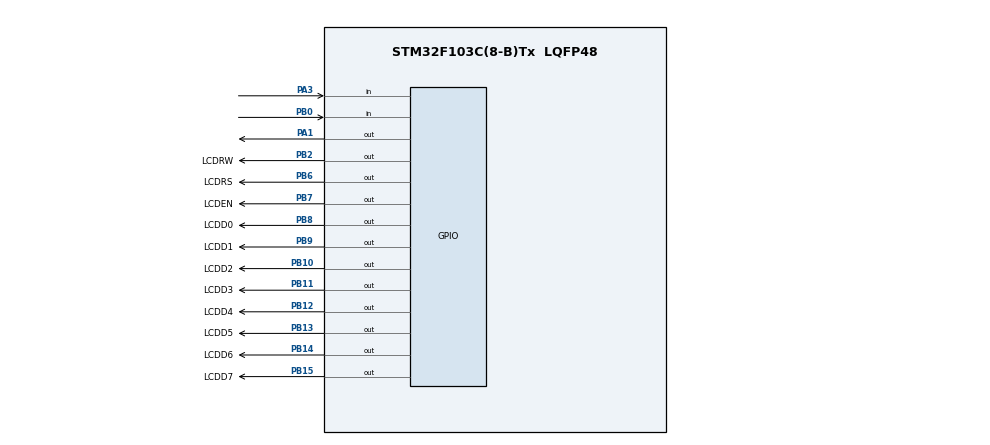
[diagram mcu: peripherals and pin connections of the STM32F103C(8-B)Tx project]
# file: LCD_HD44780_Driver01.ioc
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Mcu.Family=STM32F1
Mcu.Name=STM32F103C(8-B)Tx
Mcu.Package=LQFP48
NVIC.PriorityGroup=NVIC_PRIORITYGROUP_4
PA1.Signal=GPIO_Output
PA13.Mode=Serial_Wire
PA13.Signal=SYS_JTMS-SWDIO
PA14.Mode=Serial_Wire
PA14.Signal=SYS_JTCK-SWCLK
PA3.GPIO_PuPd=GPIO_PULLUP
PA3.Signal=GPIO_Input
PB0.Signal=GPIO_Input
PB10.GPIO_Label=LCDD2
PB10.Signal=GPIO_Output
PB11.GPIO_Label=LCDD3
PB11.Signal=GPIO_Output
PB12.GPIO_Label=LCDD4
PB12.Signal=GPIO_Output
PB13.GPIO_Label=LCDD5
PB13.Signal=GPIO_Output
PB14.GPIO_Label=LCDD6
PB14.Signal=GPIO_Output
PB15.GPIO_Label=LCDD7
PB15.Signal=GPIO_Output
PB2.GPIO_Label=LCDRW
PB2.Signal=GPIO_Output
PB6.GPIO_Label=LCDRS
PB6.Signal=GPIO_Output
PB7.GPIO_Label=LCDEN
PB7.Signal=GPIO_Output
PB8.GPIO_Label=LCDD0
PB8.Signal=GPIO_Output
PB9.GPIO_Label=LCDD1
PB9.Signal=GPIO_Output
ProjectManager.HeapSize=0x200
ProjectManager.StackSize=0x400
ProjectManager.TargetToolchain=MDK-ARM V5.32
RCC.APB1Freq_Value=8000000
RCC.APB2Freq_Value=8000000
board=custom

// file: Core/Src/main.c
/* USER CODE BEGIN Header */
/**
  ******************************************************************************
  * @file           : main.c
  * @brief          : Main program body
  ******************************************************************************
  * @attention
  *
  * Copyright (c) 2023 STMicroelectronics.
  * All rights reserved.
  *
  * This software is licensed under terms that can be found in the LICENSE file
  * in the root directory of this software component.
  * If no LICENSE file comes with this software, it is provided AS-IS.
  *
  ******************************************************************************
  */
/* USER CODE END Header */
#include "main.h"

/* USER CODE BEGIN Includes */
#include <stdio.h>
struct __FILE
{
  int handle;
};
FILE __stdout;
//void LCD_putchar(uint8_t ch);
int fputc(int ch, FILE *f)
{
//  LCD_putchar((uint8_t)ch);
  return ch;
}

/* USER CODE END Includes */

void SystemClock_Config(void);
static void MX_GPIO_Init(void);

/* USER CODE BEGIN 0 */

/* LCD initilize sequence ------------------ */
#define LCD_4bit 				 // Select LCD_8bit or LCD_4bit
#define LCD_useBF				 //
// ============================================
#define CMD					0  		 // PutType
#define CMD4bit			0xFF	 // Put only nible
#define DAT					1  		 // PutType
#define BF_TIMEOUT 	100000uL    // Maximum busy flag waiting time loop count
/* ----------- End of LCD initilize sequence */

/* LCD constants define begin -------------- */
#define 	LCD_CLEARDISPLAY						0x01
#define 	LCD_RETURNHOME							0x02
#define 	LCD_ENTRY_INCREASE					0x06
#define 	LCD_ENTRY_DECREASE					0x04
#define 	LCD_ENTRY_SHIFTRIGHT				0x05
#define 	LCD_ENTRY_SHIFTLEFT				0x07
#define 	LCD_DISPLAY_ALL						0x0F
#define 	LCD_DISPLAY_OFF						0x08
#define 	LCD_CURSOR_OFF							0x0C
#define 	LCD_BLINK_OFF							0x0E
#define 	LCD_SHIFT_CURSOR_LEFT			0x10
#define 	LCD_SHIFT_CURSOR_RIGHT			0x14
#define 	LCD_SHIFT_DISP_LEFT				0x18
#define 	LCD_SHIFT_DISP_RIGHT				0x1C
#define 	LCD_SETCGRAM_ADDR					0x40
//        (LCD_SETCGRAM_ADDR | addr_value)
#define 	LCD_SETDDRAM_ADDR					0x80
//        (LCD_SETDDRAM_ADDR | addr_value)
/* --------------End of LCD constants define */

// Wait for LCD ready using Busy Flag check
// Return Wait until BF=0 or reach BF_TimeoutCnt == BF_TIMEOUT

uint8_t LCD_BF_Wait() {
#if defined(LCD_useBF)
		uint32_t BF_TimeoutCnt = 0;
	  uint8_t BF=0;
		GPIO_InitTypeDef GPIO_InitStruct = {0};
		GPIO_InitStruct.Pin =  LCDD4_Pin|LCDD5_Pin|LCDD6_Pin|LCDD7_Pin|
												   LCDD0_Pin|LCDD1_Pin|LCDD2_Pin|LCDD3_Pin;
		GPIO_InitStruct.Mode = GPIO_MODE_INPUT;
		GPIO_InitStruct.Pull = GPIO_NOPULL;
		HAL_GPIO_Init(LCDD7_GPIO_Port, &GPIO_InitStruct);

		HAL_GPIO_WritePin(LCDRW_GPIO_Port,LCDRW_Pin,1);
		HAL_GPIO_WritePin(LCDRS_GPIO_Port,LCDRS_Pin,0);

		while((0!=BF)&&(BF_TimeoutCnt<BF_TIMEOUT)) { //&&(BF_TimeoutCnt<BF_TIMEOUT)
			BF_TimeoutCnt = BF_TimeoutCnt + 1;
			BF = HAL_GPIO_ReadPin(LCDD7_GPIO_Port,LCDD7_Pin);
		}
		// Change back BF into Digital OUTPUT PUSH PULL
		GPIO_InitStruct.Pin =  LCDD4_Pin|LCDD5_Pin|LCDD6_Pin|LCDD7_Pin|
												   LCDD0_Pin|LCDD1_Pin|LCDD2_Pin|LCDD3_Pin;		GPIO_InitStruct.Mode = GPIO_MODE_OUTPUT_PP;
		GPIO_InitStruct.Mode = GPIO_MODE_OUTPUT_PP;
		GPIO_InitStruct.Pull = GPIO_NOPULL;
		GPIO_InitStruct.Speed = GPIO_SPEED_FREQ_LOW;
		HAL_GPIO_Init(LCDD7_GPIO_Port, &GPIO_InitStruct);

		HAL_GPIO_WritePin(LCDRW_GPIO_Port,LCDRW_Pin,0);    // Change back to Write mode
		return BF;
#else
	HAL_Delay(1);
	return 0;
#endif
}

// LCD put
void LCD_put(uint8_t PutType, uint8_t	ch) {
#if defined(LCD_8bit)
	LCD_BF_Wait();
	HAL_GPIO_WritePin(LCDRS_GPIO_Port,LCDRS_Pin,PutType); // IR
	HAL_GPIO_WritePin(LCDEN_GPIO_Port,LCDEN_Pin,0); // EN=0
	HAL_GPIO_WritePin(LCDD7_GPIO_Port,LCDD7_Pin,(ch>>7)&1u);
	HAL_GPIO_WritePin(LCDD6_GPIO_Port,LCDD6_Pin,(ch>>6)&1u);
	HAL_GPIO_WritePin(LCDD5_GPIO_Port,LCDD5_Pin,(ch>>5)&1u);
	HAL_GPIO_WritePin(LCDD4_GPIO_Port,LCDD4_Pin,(ch>>4)&1u);
	HAL_GPIO_WritePin(LCDD3_GPIO_Port,LCDD3_Pin,(ch>>3)&1u);
	HAL_GPIO_WritePin(LCDD2_GPIO_Port,LCDD2_Pin,(ch>>2)&1u);
	HAL_GPIO_WritePin(LCDD1_GPIO_Port,LCDD1_Pin,(ch>>1)&1u);
	HAL_GPIO_WritePin(LCDD0_GPIO_Port,LCDD0_Pin,(ch>>0)&1u);
	HAL_GPIO_WritePin(LCDEN_GPIO_Port,LCDEN_Pin,1); // EN=1
//	LCD_BF_Wait();
	HAL_GPIO_WritePin(LCDRS_GPIO_Port,LCDRS_Pin,PutType); // IR
	HAL_GPIO_WritePin(LCDEN_GPIO_Port,LCDEN_Pin,0); // EN=0
}

#elif defined(LCD_4bit)
	LCD_BF_Wait();
	HAL_GPIO_WritePin(LCDRS_GPIO_Port,LCDRS_Pin,((PutType==CMD4bit)?CMD:PutType)); // IR
	HAL_GPIO_WritePin(LCDEN_GPIO_Port,LCDEN_Pin,0); // EN=0
	HAL_GPIO_WritePin(LCDD7_GPIO_Port,LCDD7_Pin,(ch>>7)&1u);
	HAL_GPIO_WritePin(LCDD6_GPIO_Port,LCDD6_Pin,(ch>>6)&1u);
	HAL_GPIO_WritePin(LCDD5_GPIO_Port,LCDD5_Pin,(ch>>5)&1u);
	HAL_GPIO_WritePin(LCDD4_GPIO_Port,LCDD4_Pin,(ch>>4)&1u);
	HAL_GPIO_WritePin(LCDEN_GPIO_Port,LCDEN_Pin,1); // EN=1
	HAL_GPIO_WritePin(LCDEN_GPIO_Port,LCDEN_Pin,0); // EN=0

	if (PutType != CMD4bit) {
		LCD_BF_Wait();
		HAL_GPIO_WritePin(LCDRS_GPIO_Port,LCDRS_Pin,((PutType==CMD4bit)?CMD:PutType)); // IR
		HAL_GPIO_WritePin(LCDD3_GPIO_Port,LCDD7_Pin,(ch>>3)&1u);
		HAL_GPIO_WritePin(LCDD2_GPIO_Port,LCDD6_Pin,(ch>>2)&1u);
		HAL_GPIO_WritePin(LCDD1_GPIO_Port,LCDD5_Pin,(ch>>1)&1u);
		HAL_GPIO_WritePin(LCDD0_GPIO_Port,LCDD4_Pin,(ch>>0)&1u);
		HAL_GPIO_WritePin(LCDEN_GPIO_Port,LCDEN_Pin,1); // EN=1
		HAL_GPIO_WritePin(LCDEN_GPIO_Port,LCDEN_Pin,0); // EN=0
	}
}

#endif
const uint8_t char2[]={0,14,17,31,16,14,0,4};   // e.
const uint8_t char1[]={0,2,7,2,14,18,18,15};   // dd
const uint8_t char0[]={2,4,10,14,17,31,16,14};  // e^'

void LCD_SetCustomChar(uint8_t pos,uint8_t *pTable) {
	pos = pos<<3;
	uint8_t i=0;
	for (i=0;i<8;i++) {
			LCD_put(CMD,LCD_SETCGRAM_ADDR|(pos|i));      			// set CRRAM address
			LCD_put(DAT,*(pTable+i));      		// set CRRAM data
	}
}

// LCD init
void LCD_Init() {
	HAL_Delay(15);
	#if defined(LCD_4bit)
		LCD_put(CMD4bit, 0x30);
		HAL_Delay(5);
		LCD_put(CMD4bit, 0x30);
		HAL_Delay(1);
		LCD_put(CMD4bit, 0x30);
		LCD_put(CMD4bit, 0x20); // 4bit
		LCD_put(CMD, 0x2C);     // 4bit N=1 (2 lines); F=1 (5x10)
		LCD_put(CMD, 0x0F);     // 0B00001111 Display ON, cursor ON, Blink ON
		LCD_put(CMD, 0x06);     // 0B00000110 Increase ID=1; S/C=0 Cursor move
		LCD_put(CMD, 0x01);     // Clear LCD
	#elif defined(LCD_8bit)
		LCD_put(CMD, 0x30);
		HAL_Delay(5);
		LCD_put(CMD, 0x30);
		HAL_Delay(1);
		LCD_put(CMD, 0x30);
		LCD_put(CMD, 0x3C);  // 0B00111100 8bit, N=1 (2 lines); F=1 (5x10)
		LCD_put(CMD, 0x0F);  // 0B00001111 Display ON, cursor ON, Blink ON
		LCD_put(CMD, 0x06);  // 0B00000110 Increase ID=1; S/C=0 Cursor move
		LCD_put(CMD, 0x01);  // Clear LCD
	#endif
		HAL_Delay(2);
}

/* USER CODE END 0 */

int main(void)
{

  /* MCU Configuration--------------------------------------------------------*/

  /* Reset of all peripherals, Initializes the Flash interface and the Systick. */
  HAL_Init();

  /* Configure the system clock */
  SystemClock_Config();

  /* Initialize all configured peripherals */
  MX_GPIO_Init();
  /* USER CODE BEGIN 2 */
				HAL_GPIO_WritePin(GPIOA,GPIO_PIN_1,GPIO_PIN_RESET);
				HAL_Delay(10);
				HAL_GPIO_WritePin(GPIOA,GPIO_PIN_1,GPIO_PIN_SET);
				HAL_Delay(10);
				HAL_GPIO_WritePin(GPIOA,GPIO_PIN_1,GPIO_PIN_RESET);
LCD_Init();
LCD_SetCustomChar(0,(uint8_t *)char0);
LCD_SetCustomChar(1,(uint8_t *)char1);
LCD_SetCustomChar(2,(uint8_t *)char2);
LCD_put(CMD,LCD_SETDDRAM_ADDR |0x00);
LCD_put(DAT,'T');
LCD_put(DAT,'r');
LCD_put(DAT,'i');
LCD_put(DAT,0);  // e^
LCD_put(DAT,'t');
LCD_put(DAT,' ');
LCD_put(DAT,1); // D
LCD_put(DAT,2); // e.
LCD_put(DAT,'p');
LCD_put(DAT,' ');
LCD_put(DAT,'t');
LCD_put(DAT,'r');
LCD_put(DAT,'a');
LCD_put(DAT,'i');
			HAL_GPIO_WritePin(GPIOA,GPIO_PIN_1,GPIO_PIN_SET);

  /* USER CODE END 2 */

  /* Infinite loop */
  while (1)
  {

  }
}

void SystemClock_Config(void)
{
  RCC_OscInitTypeDef RCC_OscInitStruct = {0};
  RCC_ClkInitTypeDef RCC_ClkInitStruct = {0};

  /** Initializes the RCC Oscillators according to the specified parameters
  * in the RCC_OscInitTypeDef structure.
  */
  RCC_OscInitStruct.OscillatorType = RCC_OSCILLATORTYPE_HSI;
  RCC_OscInitStruct.HSIState = RCC_HSI_ON;
  RCC_OscInitStruct.HSICalibrationValue = RCC_HSICALIBRATION_DEFAULT;
  RCC_OscInitStruct.PLL.PLLState = RCC_PLL_NONE;
  if (HAL_RCC_OscConfig(&RCC_OscInitStruct) != HAL_OK)
  {
    Error_Handler();
  }

  /** Initializes the CPU, AHB and APB buses clocks
  */
  RCC_ClkInitStruct.ClockType = RCC_CLOCKTYPE_HCLK|RCC_CLOCKTYPE_SYSCLK
                              |RCC_CLOCKTYPE_PCLK1|RCC_CLOCKTYPE_PCLK2;
  RCC_ClkInitStruct.SYSCLKSource = RCC_SYSCLKSOURCE_HSI;
  RCC_ClkInitStruct.AHBCLKDivider = RCC_SYSCLK_DIV1;
  RCC_ClkInitStruct.APB1CLKDivider = RCC_HCLK_DIV1;
  RCC_ClkInitStruct.APB2CLKDivider = RCC_HCLK_DIV1;

  if (HAL_RCC_ClockConfig(&RCC_ClkInitStruct, FLASH_LATENCY_0) != HAL_OK)
  {
    Error_Handler();
  }
}

static void MX_GPIO_Init(void)
{
  GPIO_InitTypeDef GPIO_InitStruct = {0};

  /* GPIO Ports Clock Enable */
  __HAL_RCC_GPIOC_CLK_ENABLE();
  __HAL_RCC_GPIOD_CLK_ENABLE();
  __HAL_RCC_GPIOA_CLK_ENABLE();
  __HAL_RCC_GPIOB_CLK_ENABLE();

  /*Configure GPIO pin Output Level */
  HAL_GPIO_WritePin(GPIOA, GPIO_PIN_1, GPIO_PIN_RESET);

  /*Configure GPIO pin Output Level */
  HAL_GPIO_WritePin(GPIOB, LCDRW_Pin|LCDD2_Pin|LCDD3_Pin|LCDD4_Pin
                          |LCDD5_Pin|LCDD6_Pin|LCDD7_Pin|LCDRS_Pin
                          |LCDEN_Pin|LCDD0_Pin|LCDD1_Pin, GPIO_PIN_RESET);

  /*Configure GPIO pins : PC13 PC14 PC15 */
  GPIO_InitStruct.Pin = GPIO_PIN_13|GPIO_PIN_14|GPIO_PIN_15;
  GPIO_InitStruct.Mode = GPIO_MODE_ANALOG;
  HAL_GPIO_Init(GPIOC, &GPIO_InitStruct);

  /*Configure GPIO pins : PD0 PD1 */
  GPIO_InitStruct.Pin = GPIO_PIN_0|GPIO_PIN_1;
  GPIO_InitStruct.Mode = GPIO_MODE_ANALOG;
  HAL_GPIO_Init(GPIOD, &GPIO_InitStruct);

  /*Configure GPIO pins : PA0 PA2 PA4 PA5
                           PA6 PA7 PA8 PA9
                           PA10 PA11 PA12 PA15 */
  GPIO_InitStruct.Pin = GPIO_PIN_0|GPIO_PIN_2|GPIO_PIN_4|GPIO_PIN_5
                          |GPIO_PIN_6|GPIO_PIN_7|GPIO_PIN_8|GPIO_PIN_9
                          |GPIO_PIN_10|GPIO_PIN_11|GPIO_PIN_12|GPIO_PIN_15;
  GPIO_InitStruct.Mode = GPIO_MODE_ANALOG;
  HAL_GPIO_Init(GPIOA, &GPIO_InitStruct);

  /*Configure GPIO pin : PA1 */
  GPIO_InitStruct.Pin = GPIO_PIN_1;
  GPIO_InitStruct.Mode = GPIO_MODE_OUTPUT_PP;
  GPIO_InitStruct.Pull = GPIO_NOPULL;
  GPIO_InitStruct.Speed = GPIO_SPEED_FREQ_LOW;
  HAL_GPIO_Init(GPIOA, &GPIO_InitStruct);

  /*Configure GPIO pin : PA3 */
  GPIO_InitStruct.Pin = GPIO_PIN_3;
  GPIO_InitStruct.Mode = GPIO_MODE_INPUT;
  GPIO_InitStruct.Pull = GPIO_PULLUP;
  HAL_GPIO_Init(GPIOA, &GPIO_InitStruct);

  /*Configure GPIO pin : PB0 */
  GPIO_InitStruct.Pin = GPIO_PIN_0;
  GPIO_InitStruct.Mode = GPIO_MODE_INPUT;
  GPIO_InitStruct.Pull = GPIO_NOPULL;
  HAL_GPIO_Init(GPIOB, &GPIO_InitStruct);

  /*Configure GPIO pins : PB1 PB3 PB4 PB5 */
  GPIO_InitStruct.Pin = GPIO_PIN_1|GPIO_PIN_3|GPIO_PIN_4|GPIO_PIN_5;
  GPIO_InitStruct.Mode = GPIO_MODE_ANALOG;
  HAL_GPIO_Init(GPIOB, &GPIO_InitStruct);

  /*Configure GPIO pins : LCDRW_Pin LCDD2_Pin LCDD3_Pin LCDD4_Pin
                           LCDD5_Pin LCDD6_Pin LCDD7_Pin LCDRS_Pin
                           LCDEN_Pin LCDD0_Pin LCDD1_Pin */
  GPIO_InitStruct.Pin = LCDRW_Pin|LCDD2_Pin|LCDD3_Pin|LCDD4_Pin
                          |LCDD5_Pin|LCDD6_Pin|LCDD7_Pin|LCDRS_Pin
                          |LCDEN_Pin|LCDD0_Pin|LCDD1_Pin;
  GPIO_InitStruct.Mode = GPIO_MODE_OUTPUT_PP;
  GPIO_InitStruct.Pull = GPIO_NOPULL;
  GPIO_InitStruct.Speed = GPIO_SPEED_FREQ_LOW;
  HAL_GPIO_Init(GPIOB, &GPIO_InitStruct);

  /*Configure peripheral I/O remapping */
  __HAL_AFIO_REMAP_PD01_ENABLE();

}

void Error_Handler(void)
{
  __disable_irq();
  while (1)
  {
  }
}
